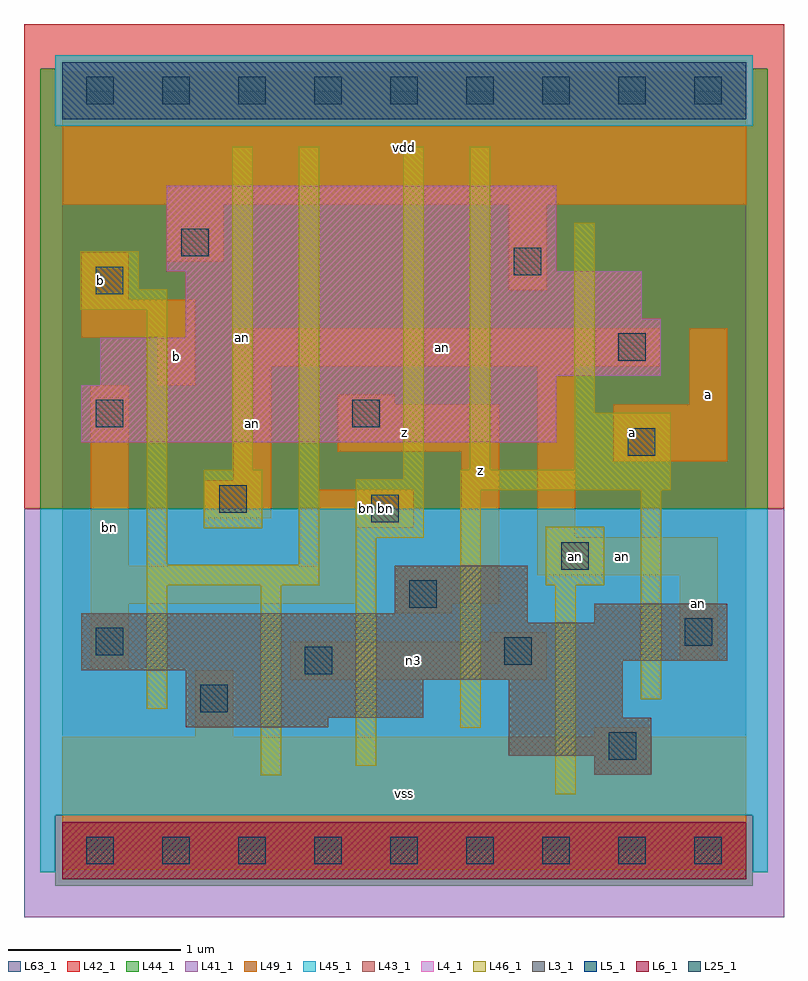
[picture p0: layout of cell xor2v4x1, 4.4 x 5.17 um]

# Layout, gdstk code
import gdstk
lib = gdstk.Library(unit=1e-6, precision=1e-09)
def R(c, l, rs):  # rectangles x0, y0, x1, y1
    for r in rs: c.add(gdstk.rectangle(r[:2], r[2:], *l))
def A(c, l, x, y, w, h, nx, ny, dx, dy):  # array of equal rectangles
    R(c, l, [(x+i*dx, y+j*dy, x+i*dx+w, y+j*dy+h) for i in range(nx) for j in range(ny)])
L3_1 = (3, 1)
L4_1 = (4, 1)
L5_1 = (5, 1)
L6_1 = (6, 1)
L25_1 = (25, 1)
L41_1 = (41, 1)
L42_1 = (42, 1)
L43_1 = (43, 1)
L44_1 = (44, 1)
L45_1 = (45, 1)
L46_1 = (46, 1)
L49_1 = (49, 1)
L63_1 = (63, 1)

xor2v4x1 = lib.new_cell('xor2v4x1')
R(xor2v4x1, L3_1, [(3.08,0.44,3.41,0.55), (2.585,0.55,3.41,0.77), (0.715,0.715,1.54,0.77), (0.715,0.77,2.09,0.99), (2.585,0.77,3.245,0.99), (0.715,0.99,3.245,1.045), (0.11,1.045,3.245,1.1), (0.11,1.1,3.85,1.32), (0.11,1.32,2.695,1.375), (3.08,1.32,3.85,1.43), (1.925,1.375,2.695,1.65)])
R(xor2v4x1, L4_1, [(0.11,2.365,2.86,2.695), (0.22,2.695,2.86,2.75), (0.22,2.75,3.465,2.97), (0.715,2.97,3.465,3.08), (0.715,3.08,3.355,3.355), (0.605,3.355,2.86,3.85)])
R(xor2v4x1, L5_1, [(0,4.235,3.96,4.565)])
R(xor2v4x1, L6_1, [(0,-0.165,3.96,0.165)])
A(xor2v4x1, L25_1, 0.14, -0.08, 0.16, 0.16, 9, 2, 0.44, 4.4)
R(xor2v4x1, L25_1, [(3.165,0.525,3.325,0.685), (0.8,0.8,0.96,0.96), (1.405,1.02,1.565,1.18), (2.56,1.075,2.72,1.235), (0.195,1.13,0.355,1.29), (3.605,1.185,3.765,1.345), (2.01,1.405,2.17,1.565), (2.89,1.625,3.05,1.785), (1.79,1.9,1.95,2.06), (0.91,1.955,1.07,2.115), (3.275,2.285,3.435,2.445), (0.195,2.45,0.355,2.61), (1.68,2.45,1.84,2.61), (3.22,2.835,3.38,2.995), (0.195,3.22,0.355,3.38), (2.615,3.33,2.775,3.49), (0.69,3.44,0.85,3.6)])
R(xor2v4x1, L41_1, [(-0.22,-0.385,4.18,1.98)])
R(xor2v4x1, L42_1, [(-0.22,1.98,4.18,4.785)])
R(xor2v4x1, L43_1, [(0,-0.165,3.96,0.165), (3.08,0.44,3.41,0.55), (2.585,0.55,3.41,0.77), (0.715,0.715,1.54,0.77), (0.715,0.77,2.09,0.99), (2.585,0.77,3.245,0.99), (0.715,0.99,3.245,1.045), (0.11,1.045,3.245,1.1), (0.11,1.1,3.85,1.32), (0.11,1.32,2.695,1.375), (3.08,1.32,3.85,1.43), (1.925,1.375,2.695,1.65), (0.11,2.365,2.86,2.695), (0.22,2.695,2.86,2.75), (0.22,2.75,3.465,2.97), (0.715,2.97,3.465,3.08), (0.715,3.08,3.355,3.355), (0.605,3.355,2.86,3.85), (0,4.235,3.96,4.565)])
R(xor2v4x1, L44_1, [(-0.04,-0.205,4,0.205), (-0.125,1.98,4.085,4.195), (-0.125,4.195,-0.04,4.525), (4,4.195,4.085,4.525)])
R(xor2v4x1, L45_1, [(-0.125,-0.125,-0.04,0.205), (4,-0.125,4.085,0.205), (-0.125,0.205,4.085,1.98), (-0.04,4.195,4,4.605)])
R(xor2v4x1, L46_1, [(2.855,0.325,2.975,1.535), (1.15,0.435,1.27,1.535), (1.7,0.49,1.82,1.81), (2.305,0.71,2.425,2.085), (0.49,0.82,0.61,1.535), (3.35,0.875,3.47,2.085), (0.49,1.535,1.49,1.655), (2.8,1.535,3.14,1.875), (0.49,1.655,0.61,3.13), (1.37,1.655,1.49,4.075), (1.7,1.81,2.095,2.15), (0.82,1.865,1.16,2.205), (2.305,2.085,3.525,2.205), (1.975,2.15,2.095,4.075), (0.985,2.205,1.105,4.075), (2.36,2.205,2.48,4.075), (2.965,2.205,3.525,2.535), (2.965,2.535,3.085,3.635), (0.105,3.13,0.61,3.25), (0.105,3.25,0.445,3.47)])
R(xor2v4x1, L49_1, [(0,-0.11,3.96,0.66), (0.77,0.66,0.99,1.045), (3.08,0.66,3.41,0.715), (1.32,0.99,2.805,1.21), (0.165,1.045,0.385,1.43), (3.575,1.1,3.795,1.595), (2.475,1.21,2.805,1.265), (1.925,1.375,2.255,1.43), (0.165,1.43,1.705,1.65), (1.925,1.43,2.53,1.65), (2.75,1.595,3.795,1.815), (0.165,1.65,0.385,2.695), (1.485,1.65,1.705,1.87), (2.31,1.65,2.53,2.31), (2.75,1.815,2.97,2.805), (1.485,1.87,2.035,2.09), (0.825,1.925,1.21,2.145), (0.99,2.145,1.21,2.805), (3.19,2.255,3.85,2.585), (1.595,2.31,2.53,2.585), (1.595,2.585,1.925,2.64), (3.63,2.585,3.85,3.025), (0.55,2.695,0.77,2.97), (0.99,2.805,3.465,3.025), (0.11,2.97,0.77,3.19), (0.11,3.19,0.385,3.465), (2.585,3.245,2.805,3.74), (0.605,3.41,0.935,3.74), (0,3.74,3.96,4.51)])
R(xor2v4x1, L63_1, [(0,0,3.96,4.4)])
xor2v4x1.add(gdstk.Label('an', (1.045,2.97), layer=46, texttype=1))
xor2v4x1.add(gdstk.Label('bn', (1.87,1.98), layer=49, texttype=1))
xor2v4x1.add(gdstk.Label('an', (2.97,1.705), layer=49, texttype=1))
xor2v4x1.add(gdstk.Label('bn', (0.275,1.87), layer=49, texttype=1))
xor2v4x1.add(gdstk.Label('b', (0.22,3.3), layer=49, texttype=1))
xor2v4x1.add(gdstk.Label('an', (1.1,2.475), layer=49, texttype=1))
xor2v4x1.add(gdstk.Label('b', (0.66,2.86), layer=49, texttype=1))
xor2v4x1.add(gdstk.Label('vss', (1.98,0.33), layer=49, texttype=1))
xor2v4x1.add(gdstk.Label('bn', (1.76,1.98), layer=49, texttype=1))
xor2v4x1.add(gdstk.Label('z', (1.98,2.42), layer=49, texttype=1))
xor2v4x1.add(gdstk.Label('vdd', (1.98,4.07), layer=49, texttype=1))
xor2v4x1.add(gdstk.Label('n3', (2.035,1.1), layer=49, texttype=1))
xor2v4x1.add(gdstk.Label('z', (2.42,2.2), layer=49, texttype=1))
xor2v4x1.add(gdstk.Label('an', (3.685,1.43), layer=49, texttype=1))
xor2v4x1.add(gdstk.Label('an', (3.245,1.705), layer=49, texttype=1))
xor2v4x1.add(gdstk.Label('a', (3.3,2.42), layer=49, texttype=1))
xor2v4x1.add(gdstk.Label('a', (3.74,2.64), layer=49, texttype=1))
xor2v4x1.add(gdstk.Label('an', (2.2,2.915), layer=49, texttype=1))

lib.write_gds('xor2v4x1.gds')
